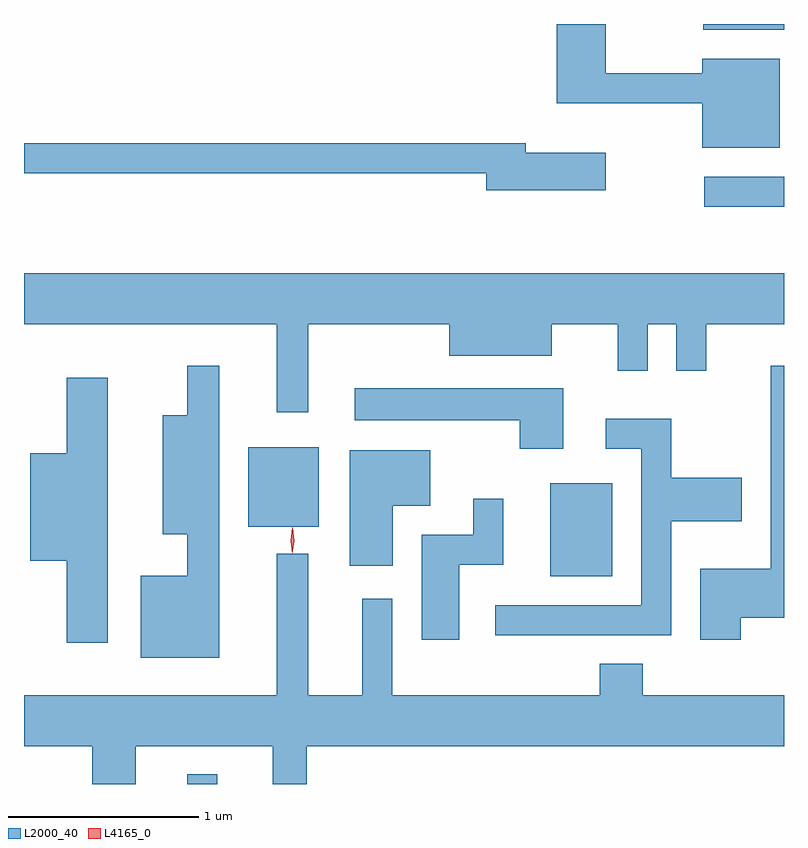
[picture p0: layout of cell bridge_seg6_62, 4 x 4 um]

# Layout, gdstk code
import gdstk
lib = gdstk.Library(unit=1e-6, precision=1e-09)
def R(c, l, rs):  # rectangles x0, y0, x1, y1
    for r in rs: c.add(gdstk.rectangle(r[:2], r[2:], *l))
def P(c, l, *ps):  # polygons
    for p in ps: c.add(gdstk.Polygon(p, *l))
L2000_40 = (2000, 40)
L4165_0 = (4165, 0)

bridge_seg6_62 = lib.new_cell('bridge_seg6_62')
R(bridge_seg6_62, L2000_40, [(1380.301,1643.077,1380.459,1643.128), (1382.211,1644.171,1382.539,1644.659), (1380.621,1644.431,1380.994,1644.849), (1383.023,1646.116,1383.442,1646.274), (1383.018,1647.046,1383.442,1647.077)])
P(bridge_seg6_62, L2000_40, [(1383.419,1646.894),(1383.011,1646.894),(1383.011,1646.819),(1382.504,1646.819),(1382.504,1647.077),(1382.246,1647.077),(1382.246,1646.661),(1383.011,1646.661),(1383.011,1646.426),(1383.419,1646.426)],
  [(1382.504,1646.399),(1382.084,1646.399),(1382.084,1646.449),(1379.442,1646.449),(1379.442,1646.291),(1381.876,1646.291),(1381.876,1646.201),(1382.504,1646.201)],
  [(1380.939,1645.496),(1381.681,1645.496),(1381.681,1645.331),(1382.219,1645.331),(1382.219,1645.496),(1382.566,1645.496),(1382.566,1645.253),(1382.724,1645.253),(1382.724,1645.496),(1382.876,1645.496),(1382.876,1645.253),(1383.034,1645.253),(1383.034,1645.496),(1383.442,1645.496),(1383.442,1645.764),(1379.442,1645.764),(1379.442,1645.496),(1380.771,1645.496),(1380.771,1645.033),(1380.939,1645.033)],
  [(1383.214,1643.951),(1383.442,1643.951),(1383.442,1645.278),(1383.371,1645.278),(1383.371,1644.209),(1383.001,1644.209),(1383.001,1643.836),(1383.214,1643.836)],
  [(1380.469,1645.278),(1380.301,1645.278),(1380.301,1645.019),(1380.171,1645.019),(1380.171,1644.391),(1380.301,1644.391),(1380.301,1644.174),(1380.056,1644.174),(1380.056,1643.741),(1380.469,1643.741)],
  [(1379.884,1645.214),(1379.666,1645.214),(1379.666,1644.819),(1379.476,1644.819),(1379.476,1644.251),(1379.666,1644.251),(1379.666,1643.821),(1379.884,1643.821)],
  [(1382.279,1645.159),(1381.183,1645.159),(1381.183,1644.991),(1382.051,1644.991),(1382.051,1644.841),(1382.279,1644.841)],
  [(1382.849,1644.461),(1383.219,1644.461),(1383.219,1644.689),(1382.849,1644.689),(1382.849,1644.999),(1382.503,1644.999),(1382.503,1644.841),(1382.691,1644.841),(1382.691,1644.019),(1381.923,1644.019),(1381.923,1643.861),(1382.849,1643.861)],
  [(1381.384,1644.541),(1381.579,1644.541),(1381.579,1644.834),(1381.156,1644.834),(1381.156,1644.226),(1381.384,1644.226)],
  [(1381.734,1644.231),(1381.964,1644.231),(1381.964,1644.578),(1381.806,1644.578),(1381.806,1644.389),(1381.536,1644.389),(1381.536,1643.836),(1381.734,1643.836)],
  [(1380.029,1643.276),(1380.751,1643.276),(1380.751,1643.077),(1380.929,1643.077),(1380.929,1643.276),(1383.442,1643.276),(1383.442,1643.544),(1382.699,1643.544),(1382.699,1643.709),(1382.471,1643.709),(1382.471,1643.544),(1381.379,1643.544),(1381.379,1644.053),(1381.221,1644.053),(1381.221,1643.544),(1380.939,1643.544),(1380.939,1644.288),(1380.771,1644.288),(1380.771,1643.544),(1379.442,1643.544),(1379.442,1643.276),(1379.801,1643.276),(1379.801,1643.077),(1380.029,1643.077)])
P(bridge_seg6_62, L4165_0, [(1380.854,1644.29),(1380.845,1644.358),(1380.855,1644.426),(1380.856,1644.426),(1380.856,1644.426),(1380.865,1644.358),(1380.855,1644.29),(1380.855,1644.29)],
  [(1380.854,1644.293),(1380.845,1644.358),(1380.855,1644.421),(1380.856,1644.422),(1380.856,1644.421),(1380.865,1644.357),(1380.855,1644.293),(1380.855,1644.293)])

lib.write_gds('bridge_seg6_62.gds')
